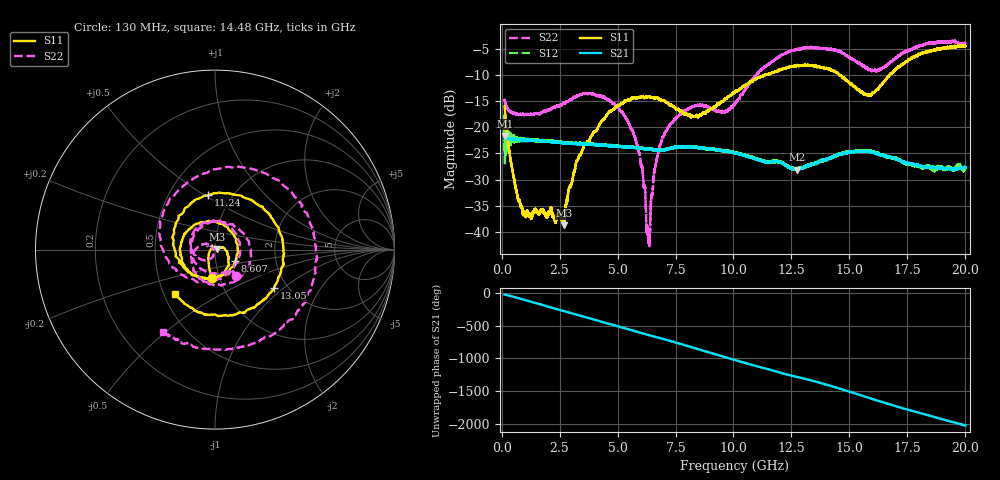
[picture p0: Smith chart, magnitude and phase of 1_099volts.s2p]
!Created with skrf (http://scikit-rf.org).
# GHz S RI R 50.0
!freq ReS11 ImS11 ReS21 ImS21 ReS12 ImS12 ReS22 ImS22
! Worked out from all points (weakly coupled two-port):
!   20013 points, 130 MHz to 20 GHz, reference 50 ohm
!   highest |S21| = -21.70 dB at 132 MHz (marker M1); lowest = -28.1 dB at 12.74 GHz (marker M2)
!   lowest |S11| = -38.8 dB at 2.686 GHz (marker M3), VSWR 1.02, Z = 51.1 + j0.374 ohm
!   |S11| at or under -10 dB: start of sweep to 11.35 GHz; 11.35035 GHz to 11.3575 GHz (7.154 MHz wide, 0.063 % of centre); 14.56 GHz to 16.73 GHz (2.168 GHz wide, 13.9 % of centre) (the widest 3 of 10)
!   |S22| runs from -42.7 to -3.4 dB; largest |S21 - S12| = 0.064
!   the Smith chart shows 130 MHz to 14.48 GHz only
!   S11 on the Smith chart (normalised r, x): 130 MHz: 0.92, -0.30; 8.607 GHz: 1.24, -0.17; 11.24 GHz: 0.77, +0.52; 13.05 GHz: 1.71, -0.86; 14.48 GHz: 0.57, -0.31
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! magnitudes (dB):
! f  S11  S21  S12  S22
! 130 MHz  -16.0  -21.8  -21.8  -14.6
! 132 MHz  -16.1  -21.7  -17.3  -14.6
! 560 MHz  -30.4  -22.3  -22.4  -17.3
! 967 MHz  -36.4  -22.4  -22.3  -17.7
! 2.686 GHz  -38.8  -23.1  -23.0  -15.3
! 3.442 GHz  -24.9  -23.2  -23.2  -13.8
! 4.671 GHz  -16.9  -23.5  -23.4  -14.9
! 5.569 GHz  -14.7  -23.8  -23.9  -20.1
! 6.004 GHz  -14.2  -24.0  -23.9  -27.3
! 6.324 GHz  -14.2  -24.2  -24.2  -40.5
! 6.754 GHz  -14.5  -24.4  -24.4  -24.9
! 7.49 GHz  -16.4  -23.8  -23.9  -18.4
! 8.607 GHz  -17.7  -24.0  -23.9  -15.9
! 10.06 GHz  -13.2  -25.0  -24.9  -15.6
! 11.24 GHz  -10.2  -26.5  -26.4  -8.8
! 12.74 GHz  -8.2  -28.1  -28.0  -5.1
! 13.05 GHz  -8.1  -27.7  -27.4  -4.9
! 13.38 GHz  -8.2  -27.2  -27.1  -4.9
! 14.48 GHz  -9.6  -25.3  -25.3  -5.4
! 15.85 GHz  -13.8  -24.7  -24.6  -9.0
! 16.69 GHz  -10.2  -25.6  -25.6  -7.9
! 20 GHz  -4.5  -27.7  -27.6  -3.9
